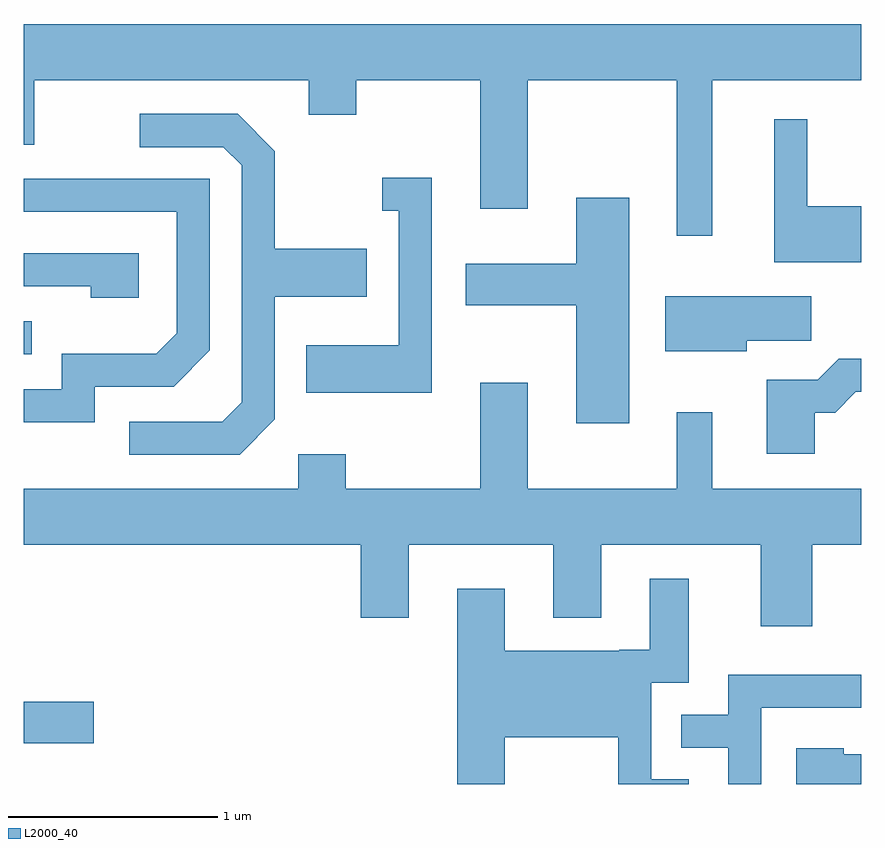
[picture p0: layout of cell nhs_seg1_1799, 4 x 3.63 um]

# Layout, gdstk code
import gdstk
lib = gdstk.Library(unit=1e-6, precision=1e-09)
def R(c, l, rs):  # rectangles x0, y0, x1, y1
    for r in rs: c.add(gdstk.rectangle(r[:2], r[2:], *l))
def P(c, l, *ps):  # polygons
    for p in ps: c.add(gdstk.Polygon(p, *l))
L2000_40 = (2000, 40)

nhs_seg1_1799 = lib.new_cell('nhs_seg1_1799')
R(nhs_seg1_1799, L2000_40, [(239.611,951.906,239.944,952.104), (239.611,953.766,239.648,953.924)])
P(nhs_seg1_1799, L2000_40, [(242.899,955.076),(243.611,955.076),(243.611,955.344),(239.611,955.344),(239.611,954.766),(239.659,954.766),(239.659,955.076),(240.971,955.076),(240.971,954.911),(241.199,954.911),(241.199,955.076),(241.791,955.076),(241.791,954.461),(242.019,954.461),(242.019,955.076),(242.731,955.076),(242.731,954.333),(242.899,954.333)],
  [(240.809,953.454),(240.809,954.041),(241.249,954.041),(241.249,954.269),(240.809,954.269),(240.809,954.737),(240.632,954.914),(240.163,954.914),(240.163,954.756),(240.564,954.756),(240.651,954.669),(240.651,953.537),(240.559,953.444),(240.113,953.444),(240.113,953.286),(240.642,953.286)],
  [(243.611,954.474),(243.354,954.474),(243.354,954.888),(243.196,954.888),(243.196,954.206),(243.611,954.206)],
  [(241.559,954.609),(241.323,954.609),(241.323,954.451),(241.401,954.451),(241.401,953.809),(240.961,953.809),(240.961,953.581),(241.559,953.581)],
  [(239.949,953.611),(240.327,953.611),(240.499,953.784),(240.499,954.604),(239.611,954.604),(239.611,954.446),(240.341,954.446),(240.341,953.867),(240.244,953.769),(239.791,953.769),(239.791,953.599),(239.611,953.599),(239.611,953.441),(239.949,953.441)],
  [(242.504,954.514),(242.251,954.514),(242.251,954.199),(241.721,954.199),(241.721,954.001),(242.251,954.001),(242.251,953.436),(242.504,953.436)],
  [(240.159,954.249),(239.611,954.249),(239.611,954.091),(239.931,954.091),(239.931,954.036),(240.159,954.036)],
  [(243.064,953.831),(243.374,953.831),(243.374,954.044),(242.676,954.044),(242.676,953.781),(243.064,953.781)],
  [(243.389,953.486),(243.487,953.486),(243.587,953.586),(243.611,953.586),(243.611,953.744),(243.504,953.744),(243.404,953.644),(243.161,953.644),(243.161,953.291),(243.389,953.291)],
  [(242.731,953.488),(242.731,953.124),(242.019,953.124),(242.019,953.629),(241.791,953.629),(241.791,953.124),(241.149,953.124),(241.149,953.289),(240.921,953.289),(240.921,953.124),(239.611,953.124),(239.611,952.856),(241.221,952.856),(241.221,952.506),(241.449,952.506),(241.449,952.856),(242.141,952.856),(242.141,952.506),(242.369,952.506),(242.369,952.856),(243.131,952.856),(243.131,952.466),(243.379,952.466),(243.379,952.856),(243.611,952.856),(243.611,953.124),(242.899,953.124),(242.899,953.488)],
  [(241.909,951.936),(242.451,951.936),(242.451,951.712),(242.789,951.712),(242.789,951.734),(242.609,951.734),(242.609,952.196),(242.789,952.196),(242.789,952.694),(242.601,952.694),(242.601,952.354),(242.455,952.354),(242.455,952.349),(241.909,952.349),(241.909,952.644),(241.681,952.644),(241.681,951.712),(241.909,951.712)],
  [(243.134,952.076),(243.611,952.076),(243.611,952.234),(242.976,952.234),(242.976,952.044),(242.753,952.044),(242.753,951.886),(242.976,951.886),(242.976,951.712),(243.134,951.712)],
  [(243.611,951.854),(243.529,951.854),(243.529,951.884),(243.301,951.884),(243.301,951.712),(243.611,951.712)])

lib.write_gds('nhs_seg1_1799.gds')
